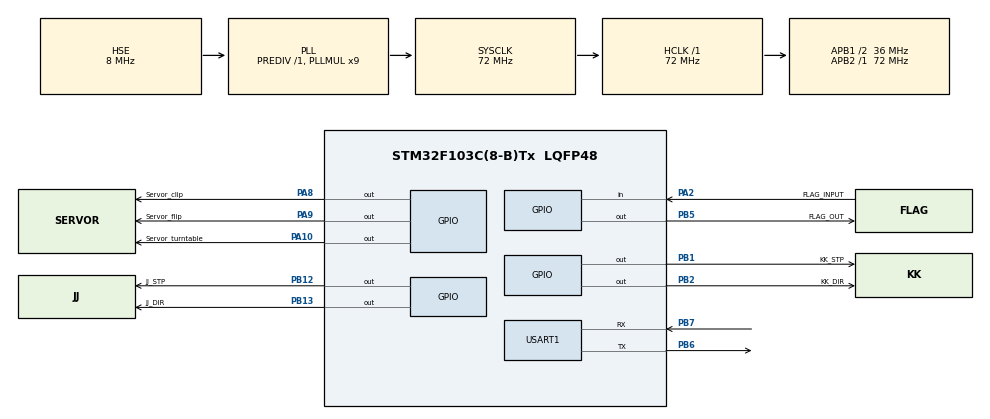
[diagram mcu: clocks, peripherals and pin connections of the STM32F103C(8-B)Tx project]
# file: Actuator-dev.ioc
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Mcu.Family=STM32F1
Mcu.Name=STM32F103C(8-B)Tx
Mcu.Package=LQFP48
NVIC.PriorityGroup=NVIC_PRIORITYGROUP_4
NVIC.USART1_IRQn=true\:0\:0\:false\:false\:true\:true\:true\:true
PA10.GPIO_Label=Servor_turntable
PA10.Signal=GPIO_Output
PA2.GPIO_Label=FLAG_INPUT
PA2.GPIO_PuPd=GPIO_NOPULL
PA2.Signal=GPIO_Input
PA8.GPIO_Label=Servor_clip
PA8.Signal=GPIO_Output
PA9.GPIO_Label=Servor_flip
PA9.Signal=GPIO_Output
PB1.GPIO_Label=KK_STP
PB1.Signal=GPIO_Output
PB12.GPIO_Label=JJ_STP
PB12.Signal=GPIO_Output
PB13.GPIO_Label=JJ_DIR
PB13.Signal=GPIO_Output
PB2.GPIO_Label=KK_DIR
PB2.Signal=GPIO_Output
PB5.GPIO_Label=FLAG_OUT
PB5.GPIO_PuPd=GPIO_PULLDOWN
PB5.Signal=GPIO_Output
PB6.Mode=Asynchronous
PB6.Signal=USART1_TX
PB7.Mode=Asynchronous
PB7.Signal=USART1_RX
PD0-OSC_IN.Mode=HSE-External-Oscillator
PD0-OSC_IN.Signal=RCC_OSC_IN
PD1-OSC_OUT.Mode=HSE-External-Oscillator
PD1-OSC_OUT.Signal=RCC_OSC_OUT
ProjectManager.HeapSize=0x200
ProjectManager.StackSize=0x400
ProjectManager.TargetToolchain=STM32CubeIDE
RCC.AHBFreq_Value=72000000
RCC.APB1CLKDivider=RCC_HCLK_DIV2
RCC.APB1Freq_Value=36000000
RCC.APB1TimFreq_Value=72000000
RCC.APB2Freq_Value=72000000
RCC.APB2TimFreq_Value=72000000
RCC.HCLKFreq_Value=72000000
RCC.PLLMUL=RCC_PLL_MUL9
RCC.PLLSourceVirtual=RCC_PLLSOURCE_HSE
RCC.SYSCLKFreq_VALUE=72000000
RCC.SYSCLKSource=RCC_SYSCLKSOURCE_PLLCLK
RCC.USBFreq_Value=72000000
USART1.VirtualMode=VM_ASYNC
VP_SYS_VS_ND.Mode=No_Debug
VP_TIM3_VS_ClockSourceINT.Mode=Internal
board=custom

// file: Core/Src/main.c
/* USER CODE BEGIN Header */
/**
  ******************************************************************************
  * @file           : main.c
  * @brief          : Main program body
  ******************************************************************************
  * @attention
  *
  * Copyright (c) 2025 STMicroelectronics.
  * All rights reserved.
  *
  * This software is licensed under terms that can be found in the LICENSE file
  * in the root directory of this software component.
  * If no LICENSE file comes with this software, it is provided AS-IS.
  *
  ******************************************************************************
  */
/* USER CODE END Header */
#include <stdlib.h>
#include "main.h"
#include "tim.h"
#include "usart.h"
#include "gpio.h"

/* USER CODE BEGIN Includes */
#include "../BSP/DWT/DWT.h"
#include "../BSP/Servos-dev/Servos.h"
#include"../BSP/28-42-dev/Emm_V5.h"
#include "../ACTION/Action/basis_Action.h"
/* USER CODE END Includes */

void SystemClock_Config(void);

int main(void)
{

  /* MCU Configuration--------------------------------------------------------*/

  /* Reset of all peripherals, Initializes the Flash interface and the Systick. */
  HAL_Init();

  /* Configure the system clock */
  SystemClock_Config();

  /* Initialize all configured peripherals */
  MX_GPIO_Init();
  MX_TIM3_Init();
  MX_USART1_UART_Init();

  /* Infinite loop */
  /* USER CODE BEGIN WHILE */
    dwt_init();
    Turntable_spin_1();
//    catching_init();//放抓
//    catching_flip();//翻转在外面
//    HAL_Delay(3000);
//
//
//    start();
//    start_scan();
//   start_catch();
  while (1) {
      uint8_t message[] = "LIAO";
      int A[3];
      int i=0;

      uint16_t received_size = 0;

      catching_flip_watch();
      // 发送消息
      while (1)
      {
          HAL_UART_Transmit(&huart1, message, sizeof(message), HAL_MAX_DELAY);
          uint8_t rx_buffer[10];

          received_size = HAL_UART_Receive(&huart1, rx_buffer, sizeof(rx_buffer), 10); // 设置超时时间为10ms

          if (received_size > 0) {
              // 处理接收到的数据
//              if (rx_buffer[0] == '1'||rx_buffer[0] == '2'||rx_buffer[0] == '3'){//1 是红色 2是绿色 3是蓝色
//                 scanf((char*)rx_buffer, "%d", &A[i]);
//                  i++;
                  if (rx_buffer[0] == '1' || rx_buffer[0] == '2' || rx_buffer[0] == '3') {
                      A[i] = atoi((char*)rx_buffer);  // 把rx_buffer转换成整数存入A[i]
                      i++;
                  }
                  break;
              }
          }
      }

      catching_init();
      Emm_PWM_remove_KK_down(510);
      HAL_Delay(2000);
      catching_catch();
      Emm_PWM_remove_KK_up(800);
      catching_flip();
      Turntable_spin_1();
      catching_flip_init();
      HAL_Delay(1000);
      catching_init();
      HAL_Delay(2000);
      catching_flip();

      catching_init();
      Emm_PWM_remove_KK_down(710);
      HAL_Delay(2000);
      catching_catch();
      Emm_PWM_remove_KK_up(1150);
      catching_flip();
      Turntable_spin_2();
      catching_flip_init();
      HAL_Delay(1000);
      catching_init();
      HAL_Delay(2000);
      catching_flip();

      catching_init();
      Emm_PWM_remove_KK_down(910);
      HAL_Delay(2000);
      catching_catch();
      Emm_PWM_remove_KK_up(1400);
      catching_flip();
      Turntable_spin_3();
      catching_flip_init();
      HAL_Delay(1000);
      catching_init();
      HAL_Delay(2000);
      catching_flip();

      Turntable_spin_1();

//      HAL_Delay(100);
//      Emm_PWM_remove_JJ_spin_go();//现场微调
//      Emm_PWM_remove_KK_up(300);
//      catching_flip();
//      catching_init();
//      catching_catch();
//      Emm_PWM_remove_KK_up(100);
//      catching_flip_init();
//      Turntable_spin_1();
//      catching_init();

//      catching_flip_init();
//      HAL_Delay(1000);
//      catching_catch();
//      HAL_Delay(1000);
//      catching_flip();//翻转在外面
//      HAL_Delay(1000);
//      catching_flip_init();
//      HAL_Delay(1000);
//      catching_init();
//      HAL_Delay(1000);
//      catching_flip();//翻转在外面
//      HAL_Delay(1000);
//
//
//
//
//      Turntable_spin_2();
//      catching_flip_init();//翻回来
//      HAL_Delay(1000);
//      catching_catch();//抓
//      HAL_Delay(1000);
//      catching_flip();//翻出去
//      HAL_Delay(1000);
//      catching_flip_init();//返回来
//      HAL_Delay(1000);
//      catching_init();//放
//      HAL_Delay(1000);
//      catching_flip();//翻转在外面
//      HAL_Delay(1000);
//
//
//
//
//
//      Turntable_spin_3();
//      catching_flip_init();
//      HAL_Delay(1000);
//       catching_catch();
//      HAL_Delay(1000);
//      catching_flip();
//      HAL_Delay(1000);
//      catching_flip_init();
//      HAL_Delay(1000);
//      catching_init();
//      HAL_Delay(1000);
//      catching_flip();//翻转在外面
//      HAL_Delay(1000);

// 接收数据

//      uint8_t rx_buffer[100];
//      if (HAL_UART_Receive(&huart1, rx_buffer, sizeof(rx_buffer), 1000) == HAL_OK)
//      {
//          // 解析数据
//          if (sscanf((char*)rx_buffer, "%d,%d,%d", &x, &y, &r) == 3)// y是上下kk    r是jj伸缩
//          {
//
//              // PID控制
//              if (y<T_Y&&abs(y-T_Y)>2)
//              {
//                  Emm_PWM_remove_KK(25);
//
//              } else if(y>T_Y&&abs(y-T_Y)>2){
//                  Emm_PWM_remove_KK_SET(25);
//              }
//
//              if (r<T_R&&abs(r-T_R)>2 ){
//                  Emm_PWM_remove_JJ_SET(25);
//
//
//
//              } else if(r>T_R&&abs(r-T_R)>2){
//                  Emm_PWM_remove_JJ(25);
//              }
//              if (abs(y-T_Y)<2&& abs(r-T_R)<2)
//              {
//                   catching_flip();
//              HAL_Delay(1000);
//              catching_init();
//              HAL_Delay(1000);
//              catching_catch();
//              HAL_Delay(1000);    通讯接收
//                  return 0;
//              }
//

//              if (abs(y-T_Y)<0.5&& abs(r-T_R))
//              {
//                  return 0;
//              }

//               这里需要根据你的PID控制算法来调整小车的运动
//               例如，根据x, y计算出需要调整的方向和速度
  }

//      catching_flip_watch();
//      HAL_Delay(1000);
//      Emm_PWM_remove_KK_down(150);
//      return 0;      第一个转台视觉捕捉角度与高度

//      Emm_PWM_remove_KK_up(1100);
//      HAL_Delay(3000);

//        catching_flip();
//        HAL_Delay(10000);  //先180 再到0°
 //    catching_flip_init();
//      HAL_Delay(6000);
    /* USER CODE END WHILE */

void SystemClock_Config(void)
{
  RCC_OscInitTypeDef RCC_OscInitStruct = {0};
  RCC_ClkInitTypeDef RCC_ClkInitStruct = {0};

  /** Initializes the RCC Oscillators according to the specified parameters
  * in the RCC_OscInitTypeDef structure.
  */
  RCC_OscInitStruct.OscillatorType = RCC_OSCILLATORTYPE_HSE;
  RCC_OscInitStruct.HSEState = RCC_HSE_ON;
  RCC_OscInitStruct.HSEPredivValue = RCC_HSE_PREDIV_DIV1;
  RCC_OscInitStruct.HSIState = RCC_HSI_ON;
  RCC_OscInitStruct.PLL.PLLState = RCC_PLL_ON;
  RCC_OscInitStruct.PLL.PLLSource = RCC_PLLSOURCE_HSE;
  RCC_OscInitStruct.PLL.PLLMUL = RCC_PLL_MUL9;
  if (HAL_RCC_OscConfig(&RCC_OscInitStruct) != HAL_OK)
  {
    Error_Handler();
  }

  /** Initializes the CPU, AHB and APB buses clocks
  */
  RCC_ClkInitStruct.ClockType = RCC_CLOCKTYPE_HCLK|RCC_CLOCKTYPE_SYSCLK
                              |RCC_CLOCKTYPE_PCLK1|RCC_CLOCKTYPE_PCLK2;
  RCC_ClkInitStruct.SYSCLKSource = RCC_SYSCLKSOURCE_PLLCLK;
  RCC_ClkInitStruct.AHBCLKDivider = RCC_SYSCLK_DIV1;
  RCC_ClkInitStruct.APB1CLKDivider = RCC_HCLK_DIV2;
  RCC_ClkInitStruct.APB2CLKDivider = RCC_HCLK_DIV1;

  if (HAL_RCC_ClockConfig(&RCC_ClkInitStruct, FLASH_LATENCY_2) != HAL_OK)
  {
    Error_Handler();
  }
}

void Error_Handler(void)
{
  __disable_irq();
  while (1)
  {
  }
}
